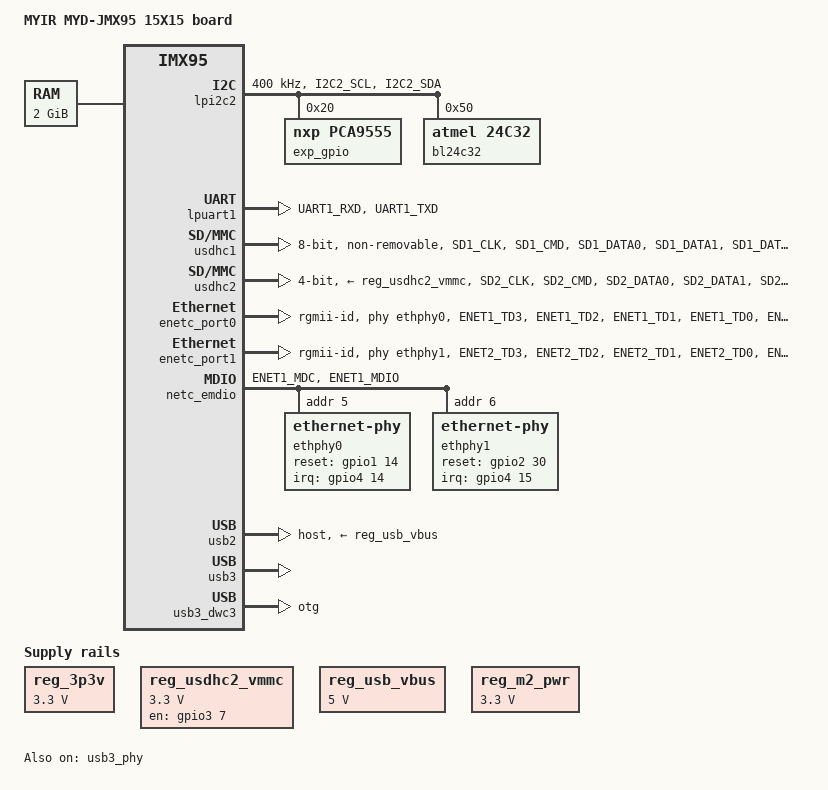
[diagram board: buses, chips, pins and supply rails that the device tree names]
// SPDX-License-Identifier: (GPL-2.0+ OR MIT)
/*
 * Copyright 2024 NXP
 */

/dts-v1/;

#include <dt-bindings/usb/pd.h>
#include "../dts/upstream/src/arm64/myir/imx95.dtsi"
#include "imx95-u-boot.dtsi"

/ {
	model = "MYIR MYD-JMX95 15X15 board";
	compatible = "fsl,imx95-15x15-evk", "fsl,imx95";

	aliases {
		gpio0 = &gpio1;
		gpio1 = &gpio2;
		gpio2 = &gpio3;
		gpio3 = &gpio4;
		gpio4 = &gpio5;
		i2c0 = &lpi2c1;
		i2c1 = &lpi2c2;
		i2c2 = &lpi2c3;
		i2c3 = &lpi2c4;
		i2c4 = &lpi2c5;
		i2c5 = &lpi2c6;
		i2c6 = &lpi2c7;
		i2c7 = &lpi2c8;
		mmc0 = &usdhc1;
		mmc1 = &usdhc2;
		mmc2 = &usdhc3;
		serial0 = &lpuart1;
		serial1 = &lpuart2;
		serial2 = &lpuart3;
		serial3 = &lpuart4;
		serial4 = &lpuart5;
		serial5 = &lpuart6;
		serial6 = &lpuart7;
		serial7 = &lpuart8;
		ethernet0 = &enetc_port0;
		ethernet1 = &enetc_port1;
	};

	chosen {
		stdout-path = &lpuart1;
	};

	memory@80000000 {
		device_type = "memory";
		reg = <0x0 0x80000000 0 0x80000000>;
	};

	reg_3p3v: regulator-3p3v {
		compatible = "regulator-fixed";
		regulator-max-microvolt = <3300000>;
		regulator-min-microvolt = <3300000>;
		regulator-name = "+V3.3_SW";
	};
	reg_usdhc2_vmmc: regulator-usdhc2 {
		compatible = "regulator-fixed";
		pinctrl-names = "default";
		pinctrl-0 = <&pinctrl_reg_usdhc2_vmmc>;
		regulator-name = "VDD_SD2_3V3";
		regulator-min-microvolt = <3300000>;
		regulator-max-microvolt = <3300000>;
		gpio = <&gpio3 7 GPIO_ACTIVE_HIGH>;
		off-on-delay-us = <12000>;
		enable-active-high;
	};

	reg_usb_vbus: regulator-vbus {
		compatible = "regulator-fixed";
		regulator-name = "USB_VBUS";
		regulator-min-microvolt = <5000000>;
		regulator-max-microvolt = <5000000>;
		enable-active-high;
		regulator-always-on;
	};

	reg_m2_pwr: regulator-m2-pwr {
		compatible = "regulator-fixed";
		regulator-name = "M.2-power";
		regulator-min-microvolt = <3300000>;
		regulator-max-microvolt = <3300000>;
		enable-active-high;
	};
};

&lpi2c2 {
	#address-cells = <1>;
	#size-cells = <0>;
	clock-frequency = <400000>;
	pinctrl-names = "default";
	pinctrl-0 = <&pinctrl_lpi2c2>;
	status = "okay";

	exp_gpio: gpio@20 {
		compatible = "nxp,pca9555";
		reg = <0x20>;
		gpio-controller;
		#gpio-cells = <2>;
	};

	bl24c32: eeprom@50 {
		compatible = "atmel,24c32";
		reg = <0x50>;
		pagesize = <32>;
	};
};

&lpi2c3 {
	#address-cells = <1>;
	#size-cells = <0>;
	clock-frequency = <400000>;
	pinctrl-names = "default";
	pinctrl-0 = <&pinctrl_lpi2c3>;
	status = "disabled";
};

&lpi2c4 {
	#address-cells = <1>;
	#size-cells = <0>;
	clock-frequency = <400000>;
	pinctrl-names = "default";
	pinctrl-0 = <&pinctrl_lpi2c4>;
	status = "disabled";
};

&lpi2c6 {
	#address-cells = <1>;
	#size-cells = <0>;
	clock-frequency = <100000>;
	pinctrl-names = "default";
	pinctrl-0 = <&pinctrl_lpi2c6>;
	status = "disabled";
};

&lpuart1 {
	/* console */
	pinctrl-names = "default";
	pinctrl-0 = <&pinctrl_uart1>;
	status = "okay";
};

&usdhc1 {
	pinctrl-names = "default", "state_100mhz", "state_200mhz";
	pinctrl-0 = <&pinctrl_usdhc1>;
	pinctrl-1 = <&pinctrl_usdhc1_100mhz>;
	pinctrl-2 = <&pinctrl_usdhc1_200mhz>;
	bus-width = <8>;
	non-removable;
	no-sdio;
	no-sd;
	status = "okay";
};

&usdhc2 {
	pinctrl-names = "default", "state_100mhz", "state_200mhz";
	pinctrl-0 = <&pinctrl_usdhc2>, <&pinctrl_usdhc2_gpio>;
	pinctrl-1 = <&pinctrl_usdhc2_100mhz>, <&pinctrl_usdhc2_gpio>;
	pinctrl-2 = <&pinctrl_usdhc2_200mhz>, <&pinctrl_usdhc2_gpio>;
	cd-gpios = <&gpio3 00 GPIO_ACTIVE_LOW>;
	vmmc-supply = <&reg_usdhc2_vmmc>;
	bus-width = <4>;
	status = "okay";
};

&enetc_port0 {
	pinctrl-names = "default";
	pinctrl-0 = <&pinctrl_enetc0>;
	phy-handle = <&ethphy0>;
	phy-mode = "rgmii-id";
	status = "okay";
};

&enetc_port1 {
	pinctrl-names = "default";
	pinctrl-0 = <&pinctrl_enetc1>;
	phy-handle = <&ethphy1>;
	phy-mode = "rgmii-id";
	status = "okay";
};

&netc_emdio {
	pinctrl-names = "default";
	pinctrl-0 = <&pinctrl_emdio>;
	status = "okay";

	ethphy0: ethernet-phy@5 {
		reg = <5>;
		eee-broken-1000t;
		reset-gpios = <&gpio1 14 GPIO_ACTIVE_HIGH>;
		reset-assert-us = <10000>;
		reset-deassert-us = <80000>;
		interrupt-parent = <&gpio4>;
		interrupts = <14 IRQ_TYPE_LEVEL_LOW>;
	};

	ethphy1: ethernet-phy@6 {
		reg = <6>;
		eee-broken-1000t;
		reset-gpios = <&gpio2 30 GPIO_ACTIVE_HIGH>;
		reset-assert-us = <10000>;
		reset-deassert-us = <80000>;
		interrupt-parent = <&gpio4>;
		interrupts = <15 IRQ_TYPE_LEVEL_LOW>;
	};
};

&usb2 {
	dr_mode = "host";
	vbus-supply = <&reg_usb_vbus>;
	disable-over-current;
	status = "okay";
};

&usb3 {
	status = "okay";
};

&usb3_phy {
	status = "okay";
};

&usb3_dwc3 {
	dr_mode = "otg";
	hnp-disable;
	srp-disable;
	adp-disable;
	usb-role-switch;
	role-switch-default-mode = "none";
	snps,dis-u1-entry-quirk;
	snps,dis-u2-entry-quirk;
	status = "okay";
};

&scmi_iomuxc {
	pinctrl_lpi2c1: lpi2c1grp {
		fsl,pins = <
			IMX95_PAD_I2C1_SCL__AONMIX_TOP_LPI2C1_SCL	0x40000b9e
			IMX95_PAD_I2C1_SDA__AONMIX_TOP_LPI2C1_SDA	0x40000b9e
		>;
	};

	pinctrl_lpi2c2: lpi2c2grp {
		fsl,pins = <
			IMX95_PAD_I2C2_SCL__AONMIX_TOP_LPI2C2_SCL	0x40000b9e
			IMX95_PAD_I2C2_SDA__AONMIX_TOP_LPI2C2_SDA	0x40000b9e
		>;
	};

	pinctrl_lpi2c3: lpi2c3grp {
		fsl,pins = <
			IMX95_PAD_GPIO_IO28__LPI2C3_SDA			0x40000b9e
			IMX95_PAD_GPIO_IO29__LPI2C3_SCL			0x40000b9e
		>;
	};

	pinctrl_lpi2c4: lpi2c4grp {
		fsl,pins = <
			IMX95_PAD_GPIO_IO30__LPI2C4_SDA			0x40000b9e
			IMX95_PAD_GPIO_IO31__LPI2C4_SCL			0x40000b9e
		>;
	};

	pinctrl_lpi2c6: lpi2c6grp {
		fsl,pins = <
			IMX95_PAD_GPIO_IO02__LPI2C6_SDA			0x40000b9e
			IMX95_PAD_GPIO_IO03__LPI2C6_SCL			0x40000b9e
		>;
	};

	pinctrl_uart1: uart1grp {
		fsl,pins = <
			IMX95_PAD_UART1_RXD__AONMIX_TOP_LPUART1_RX      0x31e
			IMX95_PAD_UART1_TXD__AONMIX_TOP_LPUART1_TX      0x31e
		>;
	};

	pinctrl_enetc0: enetc0grp {
		fsl,pins = <
			IMX95_PAD_ENET1_TD3__NETCMIX_TOP_ETH0_RGMII_TD3		0x57e
			IMX95_PAD_ENET1_TD2__NETCMIX_TOP_ETH0_RGMII_TD2		0x57e
			IMX95_PAD_ENET1_TD1__NETCMIX_TOP_ETH0_RGMII_TD1		0x57e
			IMX95_PAD_ENET1_TD0__NETCMIX_TOP_ETH0_RGMII_TD0		0x57e
			IMX95_PAD_ENET1_TX_CTL__NETCMIX_TOP_ETH0_RGMII_TX_CTL	0x57e
			IMX95_PAD_ENET1_TXC__NETCMIX_TOP_ETH0_RGMII_TX_CLK	0x5fe
			IMX95_PAD_ENET1_RX_CTL__NETCMIX_TOP_ETH0_RGMII_RX_CTL	0x57e
			IMX95_PAD_ENET1_RXC__NETCMIX_TOP_ETH0_RGMII_RX_CLK	0x5fe
			IMX95_PAD_ENET1_RD0__NETCMIX_TOP_ETH0_RGMII_RD0		0x57e
			IMX95_PAD_ENET1_RD1__NETCMIX_TOP_ETH0_RGMII_RD1		0x57e
			IMX95_PAD_ENET1_RD2__NETCMIX_TOP_ETH0_RGMII_RD2		0x57e
			IMX95_PAD_ENET1_RD3__NETCMIX_TOP_ETH0_RGMII_RD3		0x57e
			IMX95_PAD_SAI1_RXD0__AONMIX_TOP_GPIO1_IO_BIT14		0x51e  /*PHY0_RESET*/
			IMX95_PAD_ENET2_MDC__GPIO4_IO_BIT14		0x31e  /*PHY0_INT*/
		>;
	};

	pinctrl_enetc1: enetc1grp {
		fsl,pins = <
			IMX95_PAD_ENET2_TD3__NETCMIX_TOP_ETH1_RGMII_TD3		0x57e
			IMX95_PAD_ENET2_TD2__NETCMIX_TOP_ETH1_RGMII_TD2		0x57e
			IMX95_PAD_ENET2_TD1__NETCMIX_TOP_ETH1_RGMII_TD1		0x57e
			IMX95_PAD_ENET2_TD0__NETCMIX_TOP_ETH1_RGMII_TD0		0x57e
			IMX95_PAD_ENET2_TX_CTL__NETCMIX_TOP_ETH1_RGMII_TX_CTL	0x57e
			IMX95_PAD_ENET2_TXC__NETCMIX_TOP_ETH1_RGMII_TX_CLK	0x5fe
			IMX95_PAD_ENET2_RX_CTL__NETCMIX_TOP_ETH1_RGMII_RX_CTL	0x57e
			IMX95_PAD_ENET2_RXC__NETCMIX_TOP_ETH1_RGMII_RX_CLK	0x5fe
			IMX95_PAD_ENET2_RD0__NETCMIX_TOP_ETH1_RGMII_RD0		0x57e
			IMX95_PAD_ENET2_RD1__NETCMIX_TOP_ETH1_RGMII_RD1		0x57e
			IMX95_PAD_ENET2_RD2__NETCMIX_TOP_ETH1_RGMII_RD2		0x57e
			IMX95_PAD_ENET2_RD3__NETCMIX_TOP_ETH1_RGMII_RD3		0x57e
			IMX95_PAD_GPIO_IO30__GPIO2_IO_BIT30		0x31e  /*PHY1_RESET*/
			IMX95_PAD_ENET2_MDIO__GPIO4_IO_BIT15		0x31e  /*PHY1_INT*/
		>;
	};

	pinctrl_emdio: emdiogrp {
		fsl,pins = <
			IMX95_PAD_ENET1_MDC__NETCMIX_TOP_NETC_MDC		0x57e
			IMX95_PAD_ENET1_MDIO__NETCMIX_TOP_NETC_MDIO		0x97e
		>;
	};

	pinctrl_usdhc1: usdhc1grp {
		fsl,pins = <
			IMX95_PAD_SD1_CLK__USDHC1_CLK				0x158e
			IMX95_PAD_SD1_CMD__USDHC1_CMD				0x138e
			IMX95_PAD_SD1_DATA0__USDHC1_DATA0			0x138e
			IMX95_PAD_SD1_DATA1__USDHC1_DATA1			0x138e
			IMX95_PAD_SD1_DATA2__USDHC1_DATA2			0x138e
			IMX95_PAD_SD1_DATA3__USDHC1_DATA3			0x138e
			IMX95_PAD_SD1_DATA4__USDHC1_DATA4			0x138e
			IMX95_PAD_SD1_DATA5__USDHC1_DATA5			0x138e
			IMX95_PAD_SD1_DATA6__USDHC1_DATA6			0x138e
			IMX95_PAD_SD1_DATA7__USDHC1_DATA7			0x138e
			IMX95_PAD_SD1_STROBE__USDHC1_STROBE			0x158e
		>;
	};

	pinctrl_usdhc1_100mhz: usdhc1-100mhzgrp {
		fsl,pins = <
			IMX95_PAD_SD1_CLK__USDHC1_CLK				0x158e
			IMX95_PAD_SD1_CMD__USDHC1_CMD				0x138e
			IMX95_PAD_SD1_DATA0__USDHC1_DATA0			0x138e
			IMX95_PAD_SD1_DATA1__USDHC1_DATA1			0x138e
			IMX95_PAD_SD1_DATA2__USDHC1_DATA2			0x138e
			IMX95_PAD_SD1_DATA3__USDHC1_DATA3			0x138e
			IMX95_PAD_SD1_DATA4__USDHC1_DATA4			0x138e
			IMX95_PAD_SD1_DATA5__USDHC1_DATA5			0x138e
			IMX95_PAD_SD1_DATA6__USDHC1_DATA6			0x138e
			IMX95_PAD_SD1_DATA7__USDHC1_DATA7			0x138e
			IMX95_PAD_SD1_STROBE__USDHC1_STROBE			0x158e
		>;
	};

	pinctrl_usdhc1_200mhz: usdhc1-200mhzgrp {
		fsl,pins = <
			IMX95_PAD_SD1_CLK__USDHC1_CLK				0x15fe
			IMX95_PAD_SD1_CMD__USDHC1_CMD				0x13fe
			IMX95_PAD_SD1_DATA0__USDHC1_DATA0			0x13fe
			IMX95_PAD_SD1_DATA1__USDHC1_DATA1			0x13fe
			IMX95_PAD_SD1_DATA2__USDHC1_DATA2			0x13fe
			IMX95_PAD_SD1_DATA3__USDHC1_DATA3			0x13fe
			IMX95_PAD_SD1_DATA4__USDHC1_DATA4			0x13fe
			IMX95_PAD_SD1_DATA5__USDHC1_DATA5			0x13fe
			IMX95_PAD_SD1_DATA6__USDHC1_DATA6			0x13fe
			IMX95_PAD_SD1_DATA7__USDHC1_DATA7			0x13fe
			IMX95_PAD_SD1_STROBE__USDHC1_STROBE			0x15fe
		>;
	};

	pinctrl_reg_usdhc2_vmmc: regusdhc2vmmcgrp {
		fsl,pins = <
			IMX95_PAD_SD2_RESET_B__GPIO3_IO_BIT7			0x31e
		>;
	};

	pinctrl_usdhc2_gpio: usdhc2gpiogrp {
		fsl,pins = <
			IMX95_PAD_SD2_CD_B__GPIO3_IO_BIT0			0x31e
		>;
	};

	pinctrl_usdhc2: usdhc2grp {
		fsl,pins = <
			IMX95_PAD_SD2_CLK__USDHC2_CLK				0x158e
			IMX95_PAD_SD2_CMD__USDHC2_CMD				0x138e
			IMX95_PAD_SD2_DATA0__USDHC2_DATA0			0x138e
			IMX95_PAD_SD2_DATA1__USDHC2_DATA1			0x138e
			IMX95_PAD_SD2_DATA2__USDHC2_DATA2			0x138e
			IMX95_PAD_SD2_DATA3__USDHC2_DATA3			0x138e
			IMX95_PAD_SD2_VSELECT__USDHC2_VSELECT			0x51e
		>;
	};

	pinctrl_usdhc2_100mhz: usdhc2-100mhzgrp {
		fsl,pins = <
			IMX95_PAD_SD2_CLK__USDHC2_CLK				0x158e
			IMX95_PAD_SD2_CMD__USDHC2_CMD				0x138e
			IMX95_PAD_SD2_DATA0__USDHC2_DATA0			0x138e
			IMX95_PAD_SD2_DATA1__USDHC2_DATA1			0x138e
			IMX95_PAD_SD2_DATA2__USDHC2_DATA2			0x138e
			IMX95_PAD_SD2_DATA3__USDHC2_DATA3			0x138e
			IMX95_PAD_SD2_VSELECT__USDHC2_VSELECT			0x51e
		>;
	};

	pinctrl_usdhc2_200mhz: usdhc2-200mhzgrp {
		fsl,pins = <
			IMX95_PAD_SD2_CLK__USDHC2_CLK				0x15fe
			IMX95_PAD_SD2_CMD__USDHC2_CMD				0x13fe
			IMX95_PAD_SD2_DATA0__USDHC2_DATA0			0x13fe
			IMX95_PAD_SD2_DATA1__USDHC2_DATA1			0x13fe
			IMX95_PAD_SD2_DATA2__USDHC2_DATA2			0x13fe
			IMX95_PAD_SD2_DATA3__USDHC2_DATA3			0x13fe
			IMX95_PAD_SD2_VSELECT__USDHC2_VSELECT			0x51e
		>;
	};
};
